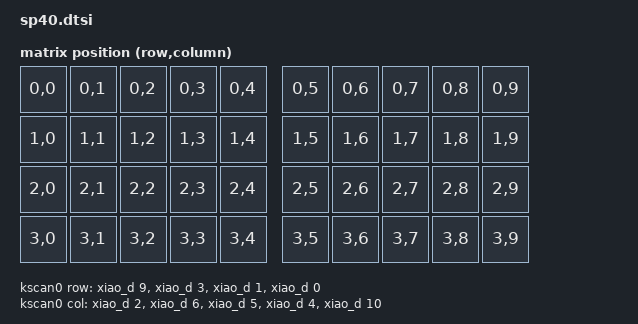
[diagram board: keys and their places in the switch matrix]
#include <dt-bindings/zmk/matrix_transform.h>
#include <physical_layouts.dtsi>

/ {
    chosen {
        zmk,kscan = &kscan0;
        zmk,physical-layout = &physical_layout0;
    };

    physical_layout0: physical_layout_0 {
        compatible = "zmk,physical-layout";
        display-name = "Default Layout";
        transform = <&default_transform>;
        kscan = <&kscan0>;

        keys  // w   h    x    y    r  rx  ry
            // Row 0
            = <&key_physical_attrs 100 100    0    0 0 0 0>
            , <&key_physical_attrs 100 100  100    0 0 0 0>
            , <&key_physical_attrs 100 100  200    0 0 0 0>
            , <&key_physical_attrs 100 100  300    0 0 0 0>
            , <&key_physical_attrs 100 100  400    0 0 0 0>
            , <&key_physical_attrs 100 100  525    0 0 0 0>
            , <&key_physical_attrs 100 100  625    0 0 0 0>
            , <&key_physical_attrs 100 100  725    0 0 0 0>
            , <&key_physical_attrs 100 100  825    0 0 0 0>
            , <&key_physical_attrs 100 100  925    0 0 0 0>
            // Row 1
            , <&key_physical_attrs 100 100    0  100 0 0 0>
            , <&key_physical_attrs 100 100  100  100 0 0 0>
            , <&key_physical_attrs 100 100  200  100 0 0 0>
            , <&key_physical_attrs 100 100  300  100 0 0 0>
            , <&key_physical_attrs 100 100  400  100 0 0 0>
            , <&key_physical_attrs 100 100  525  100 0 0 0>
            , <&key_physical_attrs 100 100  625  100 0 0 0>
            , <&key_physical_attrs 100 100  725  100 0 0 0>
            , <&key_physical_attrs 100 100  825  100 0 0 0>
            , <&key_physical_attrs 100 100  925  100 0 0 0>
            // Row 2
            , <&key_physical_attrs 100 100    0  200 0 0 0>
            , <&key_physical_attrs 100 100  100  200 0 0 0>
            , <&key_physical_attrs 100 100  200  200 0 0 0>
            , <&key_physical_attrs 100 100  300  200 0 0 0>
            , <&key_physical_attrs 100 100  400  200 0 0 0>
            , <&key_physical_attrs 100 100  525  200 0 0 0>
            , <&key_physical_attrs 100 100  625  200 0 0 0>
            , <&key_physical_attrs 100 100  725  200 0 0 0>
            , <&key_physical_attrs 100 100  825  200 0 0 0>
            , <&key_physical_attrs 100 100  925  200 0 0 0>
            // Row 3
            , <&key_physical_attrs 100 100    0  300 0 0 0>
            , <&key_physical_attrs 100 100  100  300 0 0 0>
            , <&key_physical_attrs 100 100  200  300 0 0 0>
            , <&key_physical_attrs 100 100  300  300 0 0 0>
            , <&key_physical_attrs 100 100  400  300 0 0 0>
            , <&key_physical_attrs 100 100  525  300 0 0 0>
            , <&key_physical_attrs 100 100  625  300 0 0 0>
            , <&key_physical_attrs 100 100  725  300 0 0 0>
            , <&key_physical_attrs 100 100  825  300 0 0 0>
            , <&key_physical_attrs 100 100  925  300 0 0 0>
            ;
    };

    default_transform: keymap_transform_0 {
        compatible = "zmk,matrix-transform";
        columns = <10>; // 5 cols * 2 sides = 10 cols
        rows = <4>;
        
        // 4 rows, 5 cols per side -> 20 keys per side, 40 total
        map = <
            RC(0,0) RC(0,1) RC(0,2) RC(0,3) RC(0,4)     RC(0,5) RC(0,6) RC(0,7) RC(0,8) RC(0,9)
            RC(1,0) RC(1,1) RC(1,2) RC(1,3) RC(1,4)     RC(1,5) RC(1,6) RC(1,7) RC(1,8) RC(1,9)
            RC(2,0) RC(2,1) RC(2,2) RC(2,3) RC(2,4)     RC(2,5) RC(2,6) RC(2,7) RC(2,8) RC(2,9)
            RC(3,0) RC(3,1) RC(3,2) RC(3,3) RC(3,4)     RC(3,5) RC(3,6) RC(3,7) RC(3,8) RC(3,9)
        >;
    };

    kscan0: kscan {
        compatible = "zmk,kscan-gpio-matrix";
        wakeup-source;
        diode-direction = "col2row";
        
        // C1(D2), C2(D6), C3(D5), C4(D4), C5(D10)
        col-gpios
            = <&xiao_d 2 GPIO_ACTIVE_HIGH>  // C1
            , <&xiao_d 6 GPIO_ACTIVE_HIGH>  // C2
            , <&xiao_d 5 GPIO_ACTIVE_HIGH>  // C3
            , <&xiao_d 4 GPIO_ACTIVE_HIGH>  // C4
            , <&xiao_d 10 GPIO_ACTIVE_HIGH> // C5
            ;

        // R1(D9), R2(D3), R3(D1), R4(D0)
        row-gpios
            = <&xiao_d 9 (GPIO_ACTIVE_HIGH | GPIO_PULL_DOWN)> // R1
            , <&xiao_d 3 (GPIO_ACTIVE_HIGH | GPIO_PULL_DOWN)> // R2
            , <&xiao_d 1 (GPIO_ACTIVE_HIGH | GPIO_PULL_DOWN)> // R3
            , <&xiao_d 0 (GPIO_ACTIVE_HIGH | GPIO_PULL_DOWN)> // R4
            ;
    };
};
